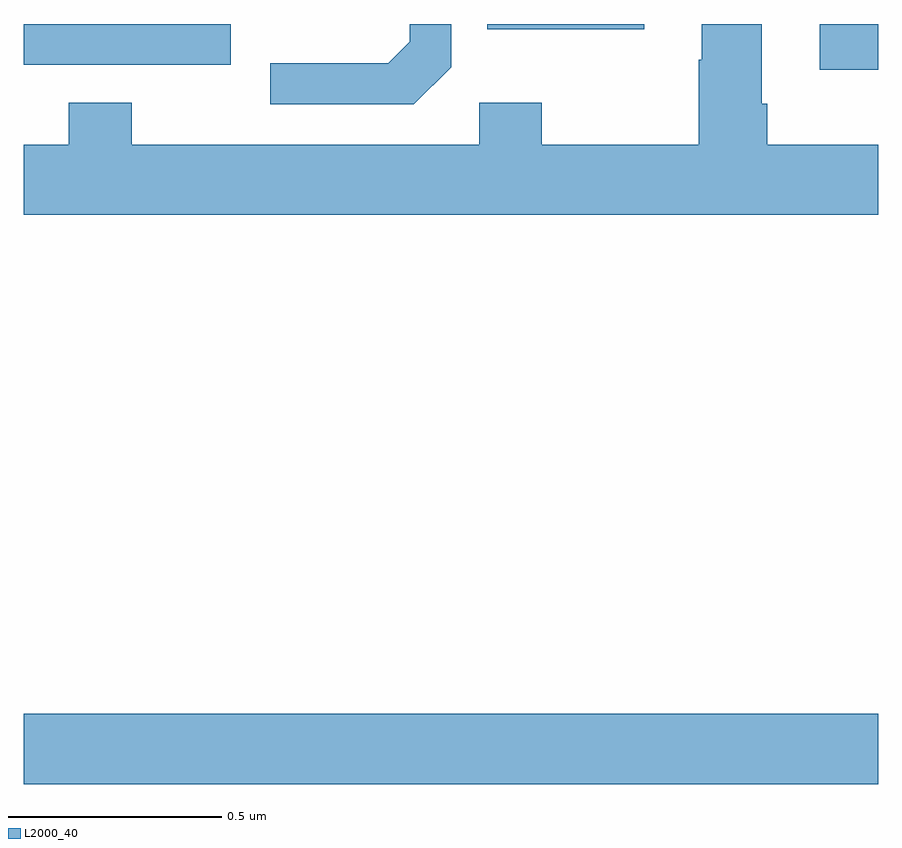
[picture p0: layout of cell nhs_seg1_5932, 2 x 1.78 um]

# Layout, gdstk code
import gdstk
lib = gdstk.Library(unit=1e-6, precision=1e-09)
def R(c, l, rs):  # rectangles x0, y0, x1, y1
    for r in rs: c.add(gdstk.rectangle(r[:2], r[2:], *l))
def P(c, l, *ps):  # polygons
    for p in ps: c.add(gdstk.Polygon(p, *l))
L2000_40 = (2000, 40)

nhs_seg1_5932 = lib.new_cell('nhs_seg1_5932')
R(nhs_seg1_5932, L2000_40, [(185,530.42,187,530.584), (186.863,532.092,187,532.199), (185,532.104,185.484,532.199), (186.085,532.187,186.452,532.199)])
P(nhs_seg1_5932, L2000_40, [(187,531.916),(186.74,531.916),(186.74,532.012),(186.727,532.012),(186.727,532.199),(186.587,532.199),(186.587,532.115),(186.58,532.115),(186.58,531.916),(186.213,531.916),(186.213,532.015),(186.066,532.015),(186.066,531.916),(185.253,531.916),(185.253,532.015),(185.105,532.015),(185.105,531.916),(185,531.916),(185,531.752),(187,531.752)],
  [(186,532.098),(186,532.199),(185.904,532.199),(185.904,532.158),(185.853,532.107),(185.577,532.107),(185.577,532.011),(185.913,532.011)])

lib.write_gds('nhs_seg1_5932.gds')
